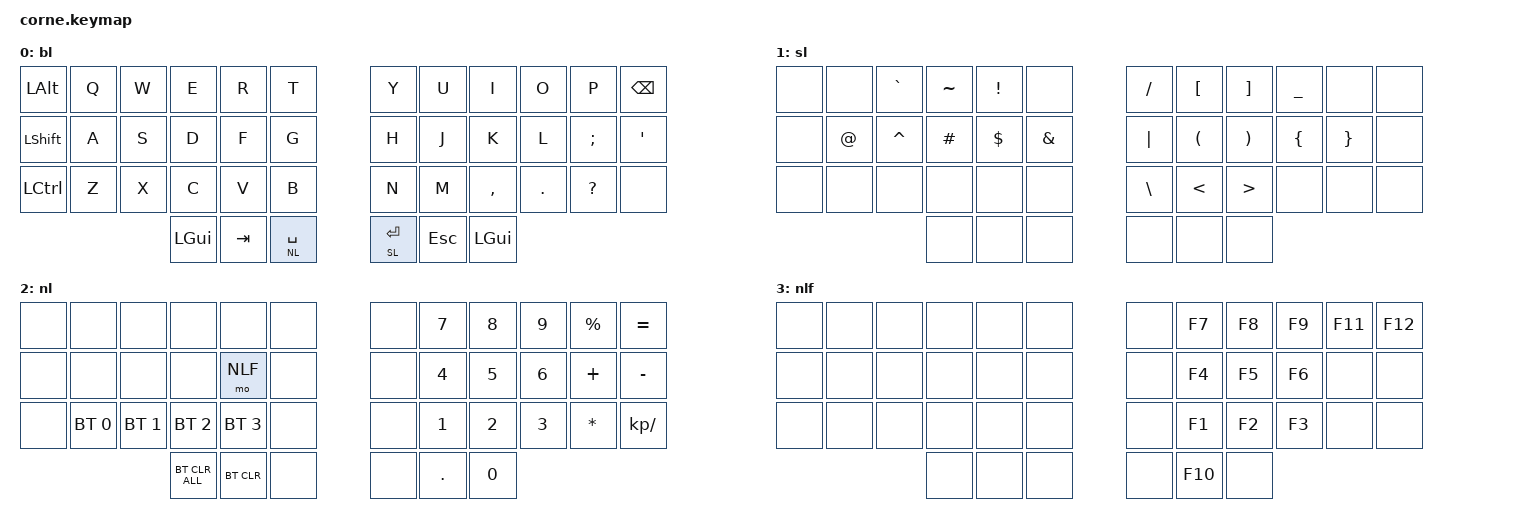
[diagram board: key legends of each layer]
#include <behaviors.dtsi>
#include <dt-bindings/zmk/keys.h>
#include <dt-bindings/zmk/bt.h>

#define BL  0
#define SL  1
#define NL  2
#define NLF 3

/ {
    keymap {
        compatible = "zmk,keymap";

        bl {
            bindings = <
              &kp LALT     &kp Q   &kp W   &kp E      &kp R     &kp T             &kp Y           &kp U     &kp I       &kp O        &kp P           &kp BACKSPACE
              &kp LSHIFT   &kp A   &kp S   &kp D      &kp F     &kp G             &kp H           &kp J     &kp K       &kp L        &kp SEMICOLON   &kp SINGLE_QUOTE
              &kp LCTRL    &kp Z   &kp X   &kp C      &kp V     &kp B             &kp N           &kp M     &kp COMMA   &kp PERIOD   &kp QMARK       &none
                                           &kp LGUI   &kp TAB   &lt NL SPACE      &lt SL RETURN   &kp ESC   &kp LGUI
            >;
        };

        sl {
            bindings = <
              &none   &none    &kp GRAVE   &kp TILDE   &kp EXCLAMATION   &none              &kp SLASH       &kp LBKT   &kp RBKT   &kp UNDER   &none      &none
              &none   &kp AT   &kp CARET   &kp HASH    &kp DOLLAR        &kp AMPERSAND      &kp PIPE        &kp LPAR   &kp RPAR   &kp LBRC    &kp RBRC   &none
              &none   &none    &none       &none       &none             &none              &kp BACKSLASH   &kp LT     &kp GT     &none       &none      &none
                                           &none       &none             &none              &none           &none      &none
            >;
        };

        nl {
            bindings = <
              &none   &none          &none          &none            &none          &none      &none   &kp N7       &kp N8   &kp N9   &kp PERCENT    &kp EQUAL
              &none   &none          &none          &none            &mo NLF        &none      &none   &kp N4       &kp N5   &kp N6   &kp PLUS       &kp MINUS
              &none   &bt BT_SEL 0   &bt BT_SEL 1   &bt BT_SEL 2     &bt BT_SEL 3   &none      &none   &kp N1       &kp N2   &kp N3   &kp ASTERISK   &kp KP_DIVIDE
                                                    &bt BT_CLR_ALL   &bt BT_CLR     &none      &none   &kp PERIOD   &kp N0
            >;
        };

        nlf {
            bindings = <
              &none   &none   &none   &none   &none   &none      &none   &kp F7    &kp F8   &kp F9   &kp F11   &kp F12
              &none   &none   &none   &none   &none   &none      &none   &kp F4    &kp F5   &kp F6   &none     &none
              &none   &none   &none   &none   &none   &none      &none   &kp F1    &kp F2   &kp F3   &none     &none
                                      &none   &none   &none      &none   &kp F10   &none
            >;
        };
    };
};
